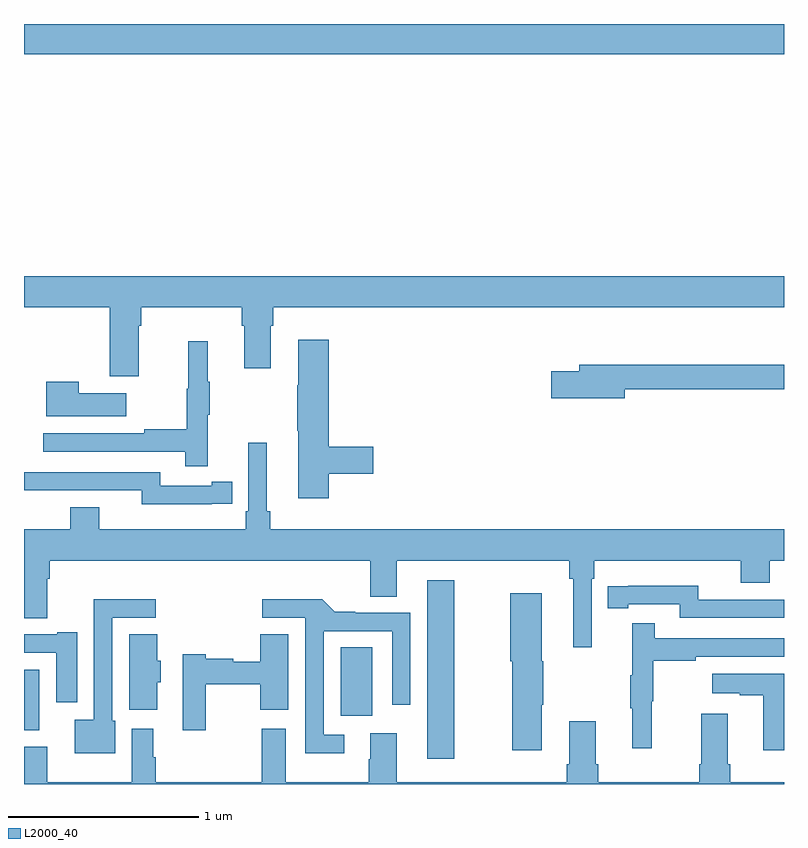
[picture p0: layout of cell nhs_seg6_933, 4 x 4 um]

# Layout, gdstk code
import gdstk
lib = gdstk.Library(unit=1e-6, precision=1e-09)
def R(c, l, rs):  # rectangles x0, y0, x1, y1
    for r in rs: c.add(gdstk.rectangle(r[:2], r[2:], *l))
def P(c, l, *ps):  # polygons
    for p in ps: c.add(gdstk.Polygon(p, *l))
L2000_40 = (2000, 40)

nhs_seg6_933 = lib.new_cell('nhs_seg6_933')
R(nhs_seg6_933, L2000_40, [(171.122,939.633,171.264,940.573), (169,939.782,169.081,940.102), (170.666,939.858,170.833,940.22), (169,943.34,173,943.5)])
P(nhs_seg6_933, L2000_40, [(169.603,941.912),(169.616,941.912),(169.616,942.008),(170.147,942.008),(170.147,941.912),(170.159,941.912),(170.159,941.688),(170.299,941.688),(170.299,941.912),(170.312,941.912),(170.312,942.008),(173,942.008),(173,942.172),(169,942.172),(169,942.008),(169.451,942.008),(169.451,941.646),(169.603,941.646)],
  [(170.603,941.134),(170.839,941.134),(170.839,941.276),(170.603,941.276),(170.603,941.839),(170.444,941.839),(170.444,941.6),(170.437,941.6),(170.437,941.359),(170.444,941.359),(170.444,941.004),(170.603,941.004)],
  [(169.967,941.443),(169.978,941.443),(169.978,941.617),(169.967,941.617),(169.967,941.83),(169.864,941.83),(169.864,941.58),(169.857,941.58),(169.857,941.366),(169.633,941.366),(169.633,941.346),(169.101,941.346),(169.101,941.25),(169.849,941.25),(169.849,941.172),(169.967,941.172)],
  [(172.162,941.578),(173,941.578),(173,941.707),(171.923,941.707),(171.923,941.673),(171.774,941.673),(171.774,941.531),(172.162,941.531)],
  [(169.537,941.557),(169.289,941.557),(169.289,941.617),(169.118,941.617),(169.118,941.435),(169.537,941.435)],
  [(171.987,940.58),(172.001,940.58),(172.001,940.676),(172.772,940.676),(172.772,940.559),(172.925,940.559),(172.925,940.676),(173,940.676),(173,940.84),(170.297,940.84),(170.297,940.936),(170.278,940.936),(170.278,941.296),(170.181,941.296),(170.181,940.936),(170.168,940.936),(170.168,940.84),(169.396,940.84),(169.396,940.957),(169.244,940.957),(169.244,940.84),(169,940.84),(169,940.372),(169.123,940.372),(169.123,940.58),(169.136,940.58),(169.136,940.676),(170.822,940.676),(170.822,940.486),(170.962,940.486),(170.962,940.676),(171.871,940.676),(171.871,940.58),(171.89,940.58),(171.89,940.221),(171.987,940.221)],
  [(169.988,940.974),(170.096,940.974),(170.096,941.09),(169.988,941.09),(169.988,941.07),(169.716,941.07),(169.716,941.142),(169,941.142),(169,941.045),(169.16,941.045),(169.16,941.046),(169.62,941.046),(169.62,940.973),(169.988,940.973)],
  [(173,940.47),(172.548,940.47),(172.548,940.543),(172.18,940.543),(172.18,940.542),(172.072,940.542),(172.072,940.426),(172.18,940.426),(172.18,940.446),(172.452,940.446),(172.452,940.374),(173,940.374)],
  [(171.724,939.916),(171.732,939.916),(171.732,940.146),(171.724,940.146),(171.724,940.504),(171.56,940.504),(171.56,940.146),(171.571,940.146),(171.571,939.678),(171.724,939.678)],
  [(169.48,939.834),(169.464,939.834),(169.464,940.374),(169.693,940.374),(169.693,940.472),(169.368,940.472),(169.368,939.838),(169.268,939.838),(169.268,939.662),(169.48,939.662)],
  [(170.686,939.759),(170.577,939.759),(170.577,940.305),(170.937,940.305),(170.937,939.918),(171.033,939.918),(171.033,940.401),(170.743,940.401),(170.743,940.406),(170.635,940.406),(170.57,940.472),(170.253,940.472),(170.253,940.374),(170.481,940.374),(170.481,939.662),(170.686,939.662)],
  [(172.304,939.936),(172.312,939.936),(172.312,940.15),(172.535,940.15),(172.535,940.17),(173,940.17),(173,940.266),(172.319,940.266),(172.319,940.345),(172.202,940.345),(172.202,940.073),(172.191,940.073),(172.191,939.899),(172.202,939.899),(172.202,939.687),(172.304,939.687)],
  [(169.279,940.3),(169.175,940.3),(169.175,940.287),(169,940.287),(169,940.191),(169.169,940.191),(169.169,939.93),(169.279,939.93)],
  [(169.702,940.035),(169.72,940.035),(169.72,940.149),(169.702,940.149),(169.702,940.289),(169.553,940.289),(169.553,939.891),(169.702,939.891)],
  [(169.957,940.024),(170.243,940.024),(170.243,939.891),(170.392,939.891),(170.392,940.289),(170.243,940.289),(170.243,940.143),(170.1,940.143),(170.1,940.16),(169.957,940.16),(169.957,940.184),(169.835,940.184),(169.835,939.783),(169.957,939.783)],
  [(173,940.081),(172.623,940.081),(172.623,939.977),(172.766,939.977),(172.766,939.967),(172.892,939.967),(172.892,939.678),(173,939.678)],
  [(169.568,939.79),(169.568,939.508),(169.123,939.508),(169.123,939.697),(169,939.697),(169,939.5),(173,939.5),(173,939.508),(172.718,939.508),(172.718,939.604),(172.705,939.604),(172.705,939.871),(172.565,939.871),(172.565,939.604),(172.553,939.604),(172.553,939.508),(172.022,939.508),(172.022,939.604),(172.009,939.604),(172.009,939.829),(171.869,939.829),(171.869,939.604),(171.857,939.604),(171.857,939.508),(170.962,939.508),(170.962,939.766),(170.822,939.766),(170.822,939.629),(170.815,939.629),(170.815,939.508),(170.377,939.508),(170.377,939.79),(170.252,939.79),(170.252,939.508),(169.694,939.508),(169.694,939.641),(169.681,939.641),(169.681,939.79)])

lib.write_gds('nhs_seg6_933.gds')
